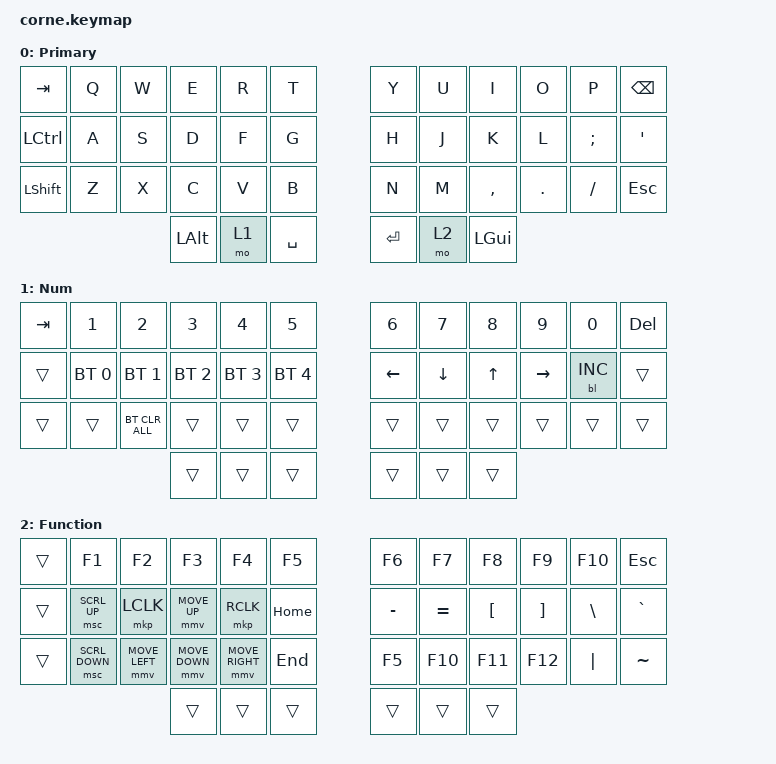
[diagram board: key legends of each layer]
/*
 * Copyright (c) 2020 The ZMK Contributors
 *
 * SPDX-License-Identifier: MIT
 */

#define ZMK_POINTING_DEFAULT_MOVE_VAL 1500

#include <behaviors.dtsi>
#include <dt-bindings/zmk/backlight.h>
#include <dt-bindings/zmk/bt.h>
#include <dt-bindings/zmk/keys.h>
#include <dt-bindings/zmk/pointing.h>

/ {
    keymap {
        compatible = "zmk,keymap";

        Primary {
            // -----------------------------------------------------------------------------------------
            // |  TAB |  Q  |  W  |  E  |  R  |  T  |   |  Y  |  U   |  I  |  O  |  P  | BSPC |
            // | CTRL |  A  |  S  |  D  |  F  |  G  |   |  H  |  J   |  K  |  L  |  ;  |  '   |
            // | SHFT |  Z  |  X  |  C  |  V  |  B  |   |  N  |  M   |  ,  |  .  |  /  | ESC  |
            //                    | GUI | LWR | SPC |   | ENT | RSE  | ALT |

            bindings = <
&kp TAB    &kp Q  &kp W  &kp E         &kp R  &kp T        &kp Y    &kp U  &kp I         &kp O    &kp P     &kp BSPC
&kp LCTRL  &kp A  &kp S  &kp D         &kp F  &kp G        &kp H    &kp J  &kp K         &kp L    &kp SEMI  &kp SQT
&kp LSHFT  &kp Z  &kp X  &kp C         &kp V  &kp B        &kp N    &kp M  &kp COMMA     &kp DOT  &kp FSLH  &kp ESC
                         &kp LEFT_ALT  &mo 1  &kp SPACE    &kp RET  &mo 2  &kp LEFT_GUI
            >;
        };

        Num {
            // -----------------------------------------------------------------------------------------
            // |  TAB |  1  |  2  |  3  |  4  |  5  |   |  6  |  7  |  8  |  9  |  0  | BSPC |
            // | BTCLR| BT1 | BT2 | BT3 | BT4 | BT5 |   | LFT | DWN |  UP | RGT |     |      |
            // | SHFT |     |     |     |     |     |   |     |     |     |     |     |      |
            //                    | GUI |     | SPC |   | ENT |     | ALT |

            bindings = <
&kp TAB  &kp N1        &kp N2          &kp N3        &kp N4        &kp N5          &kp N6    &kp N7    &kp N8  &kp N9     &kp N0      &kp DELETE
&trans   &bt BT_SEL 0  &bt BT_SEL 1    &bt BT_SEL 2  &bt BT_SEL 3  &bt BT_SEL 4    &kp LEFT  &kp DOWN  &kp UP  &kp RIGHT  &bl BL_INC  &trans
&trans   &trans        &bt BT_CLR_ALL  &trans        &trans        &trans          &trans    &trans    &trans  &trans     &trans      &trans
                                       &trans        &trans        &trans          &trans    &trans    &trans
            >;
        };

        Function {
            // -----------------------------------------------------------------------------------------
            // |  TAB |  !  |  @  |  #  |  $  |  %  |   |  ^  |  &  |  *  |  (  |  )  | BSPC |
            // | CTRL |     |     |     |     |     |   |  -  |  =  |  [  |  ]  |  \  |  `   |
            // | SHFT |     |     |     |     |     |   |  _  |  +  |  {  |  }  | "|" |  ~   |
            //                    | GUI |     | SPC |   | ENT |     | ALT |

            bindings = <
&trans  &kp F1          &kp F2          &kp F3          &kp F4           &kp F5      &kp F6     &kp F7     &kp F8    &kp F9    &kp F10   &kp ESCAPE
&trans  &msc SCRL_UP    &mkp LCLK       &mmv MOVE_UP    &mkp RCLK        &kp HOME    &kp MINUS  &kp EQUAL  &kp LBKT  &kp RBKT  &kp BSLH  &kp GRAVE
&trans  &msc SCRL_DOWN  &mmv MOVE_LEFT  &mmv MOVE_DOWN  &mmv MOVE_RIGHT  &kp END     &kp F5     &kp F10    &kp F11   &kp F12   &kp PIPE  &kp TILDE
                                        &trans          &trans           &trans      &trans     &trans     &trans
            >;
        };
    };
};
